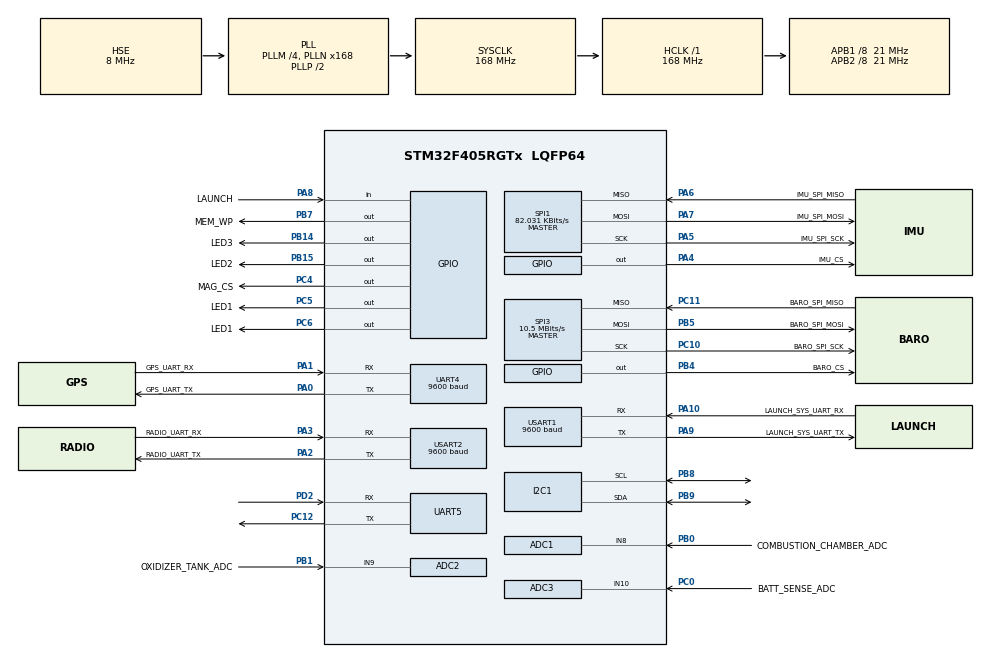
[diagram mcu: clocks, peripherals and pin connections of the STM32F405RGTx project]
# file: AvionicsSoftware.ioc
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ADC1.Channel-58\#ChannelRegularConversion=ADC_CHANNEL_8
ADC1.ClockPrescaler=ADC_CLOCK_SYNC_PCLK_DIV2
ADC1.ContinuousConvMode=ENABLE
ADC1.DMAContinuousRequests=DISABLE
ADC1.DataAlign=ADC_DATAALIGN_RIGHT
ADC1.DiscontinuousConvMode=DISABLE
ADC1.EOCSelection=ADC_EOC_SEQ_CONV
ADC1.EnableAnalogWatchDog=false
ADC1.ExternalTrigConv=ADC_SOFTWARE_START
ADC1.ExternalTrigConvEdge=ADC_EXTERNALTRIGCONVEDGE_NONE
ADC1.InjNumberOfConversion=0
ADC1.NbrOfConversion=1
ADC1.NbrOfConversionFlag=1
ADC1.Rank-58\#ChannelRegularConversion=1
ADC1.Resolution=ADC_RESOLUTION_12B
ADC1.SamplingTime-58\#ChannelRegularConversion=ADC_SAMPLETIME_480CYCLES
ADC1.ScanConvMode=DISABLE
ADC1.master=1
ADC2.Channel-68\#ChannelRegularConversion=ADC_CHANNEL_9
ADC2.ClockPrescaler=ADC_CLOCK_SYNC_PCLK_DIV2
ADC2.ContinuousConvMode=ENABLE
ADC2.DMAContinuousRequests=DISABLE
ADC2.DataAlign=ADC_DATAALIGN_RIGHT
ADC2.DiscontinuousConvMode=DISABLE
ADC2.EOCSelection=ADC_EOC_SEQ_CONV
ADC2.EnableAnalogWatchDog=false
ADC2.ExternalTrigConv=ADC_SOFTWARE_START
ADC2.ExternalTrigConvEdge=ADC_EXTERNALTRIGCONVEDGE_NONE
ADC2.InjNumberOfConversion=0
ADC2.NbrOfConversion=1
ADC2.NbrOfConversionFlag=1
ADC2.Rank-68\#ChannelRegularConversion=1
ADC2.Resolution=ADC_RESOLUTION_12B
ADC2.SamplingTime-68\#ChannelRegularConversion=ADC_SAMPLETIME_480CYCLES
ADC2.ScanConvMode=DISABLE
ADC3.Channel-0\#ChannelRegularConversion=ADC_CHANNEL_10
ADC3.ContinuousConvMode=ENABLE
ADC3.EOCSelection=ADC_EOC_SEQ_CONV
ADC3.NbrOfConversionFlag=1
ADC3.Rank-0\#ChannelRegularConversion=1
ADC3.SamplingTime-0\#ChannelRegularConversion=ADC_SAMPLETIME_480CYCLES
FREERTOS.INCLUDE_vTaskDelayUntil=1
FREERTOS.Tasks01=defaultTask,0,128,StartDefaultTask,Default,NULL
FREERTOS.configMAX_TASK_NAME_LEN=64
Mcu.Family=STM32F4
Mcu.Name=STM32F405RGTx
Mcu.Package=LQFP64
NVIC.PriorityGroup=NVIC_PRIORITYGROUP_4
NVIC.TIM1_UP_TIM10_IRQn=true\:0\:0\:false\:false\:true\:false\:false\:true
NVIC.TimeBase=TIM1_UP_TIM10_IRQn
NVIC.TimeBaseIP=TIM1
NVIC.USART2_IRQn=true\:5\:0\:false\:false\:true\:true\:true\:true
PA0-WKUP.GPIO_Label=GPS_UART_TX
PA0-WKUP.Mode=Asynchronous
PA0-WKUP.Signal=UART4_TX
PA1.GPIO_Label=GPS_UART_RX
PA1.Mode=Asynchronous
PA1.Signal=UART4_RX
PA10.GPIO_Label=LAUNCH_SYS_UART_RX
PA10.Mode=Asynchronous
PA10.Signal=USART1_RX
PA13.Signal=SYS_JTMS-SWDIO
PA14.Signal=SYS_JTCK-SWCLK
PA2.GPIO_Label=RADIO_UART_TX
PA2.Mode=Asynchronous
PA2.Signal=USART2_TX
PA3.GPIO_Label=RADIO_UART_RX
PA3.Mode=Asynchronous
PA3.Signal=USART2_RX
PA4.GPIO_Label=IMU_CS
PA4.Signal=GPIO_Output
PA5.GPIO_Label=IMU_SPI_SCK
PA5.Mode=Full_Duplex_Master
PA5.Signal=SPI1_SCK
PA6.GPIO_Label=IMU_SPI_MISO
PA6.Mode=Full_Duplex_Master
PA6.Signal=SPI1_MISO
PA7.GPIO_Label=IMU_SPI_MOSI
PA7.Mode=Full_Duplex_Master
PA7.Signal=SPI1_MOSI
PA8.GPIO_Label=LAUNCH
PA8.Signal=GPIO_Input
PA9.GPIO_Label=LAUNCH_SYS_UART_TX
PA9.Mode=Asynchronous
PA9.Signal=USART1_TX
PB0.GPIO_Label=COMBUSTION_CHAMBER_ADC
PB0.Signal=ADCx_IN8
PB1.GPIO_Label=OXIDIZER_TANK_ADC
PB1.Signal=ADCx_IN9
PB14.GPIO_Label=LED3
PB14.Signal=GPIO_Output
PB15.GPIO_Label=LED2
PB15.Signal=GPIO_Output
PB3.Signal=SYS_JTDO-SWO
PB4.GPIO_Label=BARO_CS
PB4.Signal=GPIO_Output
PB5.GPIO_Label=BARO_SPI_MOSI
PB5.Mode=Full_Duplex_Master
PB5.Signal=SPI3_MOSI
PB7.GPIO_Label=MEM_WP
PB7.Signal=GPIO_Output
PB8.Mode=I2C
PB8.Signal=I2C1_SCL
PB9.Mode=I2C
PB9.Signal=I2C1_SDA
PC0.GPIO_Label=BATT_SENSE_ADC
PC0.Signal=ADCx_IN10
PC10.GPIO_Label=BARO_SPI_SCK
PC10.Mode=Full_Duplex_Master
PC10.Signal=SPI3_SCK
PC11.GPIO_Label=BARO_SPI_MISO
PC11.Mode=Full_Duplex_Master
PC11.Signal=SPI3_MISO
PC12.Mode=Asynchronous
PC12.Signal=UART5_TX
PC4.GPIO_Label=MAG_CS
PC4.Signal=GPIO_Output
PC5.GPIO_Label=LED1
PC5.Signal=GPIO_Output
PC6.GPIO_Label=LED1
PC6.Signal=GPIO_Output
PD2.Mode=Asynchronous
PD2.Signal=UART5_RX
PH0-OSC_IN.Mode=HSE-External-Oscillator
PH0-OSC_IN.Signal=RCC_OSC_IN
PH1-OSC_OUT.Mode=HSE-External-Oscillator
PH1-OSC_OUT.Signal=RCC_OSC_OUT
ProjectManager.HeapSize=0x200
ProjectManager.StackSize=0x400
ProjectManager.TargetToolchain=SW4STM32
RCC.48MHZClocksFreq_Value=84000000
RCC.AHBFreq_Value=168000000
RCC.APB1CLKDivider=RCC_HCLK_DIV8
RCC.APB1Freq_Value=21000000
RCC.APB1TimFreq_Value=42000000
RCC.APB2CLKDivider=RCC_HCLK_DIV8
RCC.APB2Freq_Value=21000000
RCC.APB2TimFreq_Value=42000000
RCC.CortexFreq_Value=168000000
RCC.HCLKFreq_Value=168000000
RCC.HSE_VALUE=8000000
RCC.HSI_VALUE=16000000
RCC.LSE_VALUE=32768
RCC.PLLM=4
RCC.PLLN=168
RCC.PLLSourceVirtual=RCC_PLLSOURCE_HSE
RCC.SYSCLKFreq_VALUE=168000000
RCC.SYSCLKSource=RCC_SYSCLKSOURCE_PLLCLK
RCC.VCOOutputFreq_Value=336000000
SH.ADCx_IN10.0=ADC3_IN10,IN10
SH.ADCx_IN8.0=ADC1_IN8,IN8
SH.ADCx_IN9.0=ADC2_IN9,IN9
SPI1.BaudRatePrescaler=SPI_BAUDRATEPRESCALER_256
SPI1.CLKPhase=SPI_PHASE_2EDGE
SPI1.CLKPolarity=SPI_POLARITY_HIGH
SPI1.CalculateBaudRate=82.031 KBits/s
SPI1.Direction=SPI_DIRECTION_2LINES
SPI1.Mode=SPI_MODE_MASTER
SPI1.VirtualType=VM_MASTER
SPI3.CalculateBaudRate=10.5 MBits/s
SPI3.Direction=SPI_DIRECTION_2LINES
SPI3.Mode=SPI_MODE_MASTER
SPI3.VirtualType=VM_MASTER
UART4.BaudRate=9600
UART4.VirtualMode=Asynchronous
UART5.VirtualMode=Asynchronous
USART1.BaudRate=9600
USART1.VirtualMode=VM_ASYNC
USART2.BaudRate=9600
USART2.VirtualMode=VM_ASYNC
VP_FREERTOS_VS_CMSIS_V1.Mode=CMSIS_V1
VP_SYS_VS_tim1.Mode=TIM1
board=VanderAvionics

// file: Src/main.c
/* USER CODE BEGIN Header */
/**
  ******************************************************************************
  * @file           : main.c
  * @brief          : Main program body
  ******************************************************************************
  * @attention
  *
  * <h2><center>&copy; Copyright (c) 2020 STMicroelectronics.
  * All rights reserved.</center></h2>
  *
  * This software component is licensed by ST under Ultimate Liberty license
  * SLA0044, the "License"; You may not use this file except in compliance with
  * the License. You may obtain a copy of the License at:
  *                             www.st.com/SLA0044
  *
  ******************************************************************************
  */
/* USER CODE END Header */

#include "main.h"
#include "cmsis_os.h"

/* USER CODE BEGIN Includes */
#include <stdlib.h>
#include "ReadAccelGyroMagnetism.h"
#include "ReadBarometer.h"
#include "ReadCombustionChamberPressure.h"
#include "ReadGps.h"
#include "ReadOxidizerTankPressure.h"
#include "MonitorForEmergencyShutoff.h"
#include "EngineControl.h"
#include "ParachutesControl.h"
#include "LogData.h"
#include "TransmitData.h"
#include "AbortPhase.h"
#include "Data.h"
#include "FlightPhase.h"
#include "ValveControl.h"
/* USER CODE END Includes */

ADC_HandleTypeDef hadc1;
ADC_HandleTypeDef hadc2;
ADC_HandleTypeDef hadc3;

I2C_HandleTypeDef hi2c1;

SPI_HandleTypeDef hspi1;
SPI_HandleTypeDef hspi3;

UART_HandleTypeDef huart4;
UART_HandleTypeDef huart5;
UART_HandleTypeDef huart1;
UART_HandleTypeDef huart2;

osThreadId defaultTaskHandle;
/* USER CODE BEGIN PV */
/* Private variables ---------------------------------------------------------*/
static osThreadId readAccelGyroMagnetismTaskHandle;
static osThreadId readBarometerTaskHandle;
static osThreadId readCombustionChamberPressureTaskHandle;
static osThreadId readGpsTaskHandle;
static osThreadId readOxidizerTankPressureTaskHandle;
// Controls that will perform actions
static osThreadId monitorForEmergencyShutoffTaskHandle;
static osThreadId engineControlTaskHandle;
static osThreadId parachutesControlTaskHandle;
// Storing data
static osThreadId logDataTaskHandle;
static osThreadId transmitDataTaskHandle;
// Special abort thread
static osThreadId abortPhaseTaskHandle;

static const uint8_t LAUNCH_CMD_BYTE = 0x20;
static const uint8_t ARM_CMD_BYTE = 0x21;
static const uint8_t ABORT_CMD_BYTE = 0x2F;
static const uint8_t RESET_AVIONICS_CMD_BYTE = 0x4F;
static const uint8_t HEARTBEAT_BYTE = 0x46;
static const uint8_t OPEN_INJECTION_VALVE = 0x2A;
static const uint8_t CLOSE_INJECTION_VALVE = 0x2B;

uint8_t launchSystemsRxChar = 0;
uint8_t launchCmdReceived = 0;
uint8_t abortCmdReceived = 0;
uint8_t resetAvionicsCmdReceived = 0;

const int32_t HEARTBEAT_TIMEOUT = 3 * 60 * 1000; // 3 minutes
int32_t heartbeatTimer = 0; // Initalized to HEARTBEAT_TIMEOUT in MonitorForEmergencyShutoff thread

static const int FLIGHT_PHASE_DISPLAY_FREQ = 1000;
static const int FLIGHT_PHASE_BLINK_FREQ = 100;
/* USER CODE END PV */

void SystemClock_Config(void);
static void MX_GPIO_Init(void);
static void MX_ADC1_Init(void);
static void MX_ADC2_Init(void);
static void MX_SPI1_Init(void);
static void MX_USART1_UART_Init(void);
static void MX_USART2_UART_Init(void);
static void MX_UART4_Init(void);
static void MX_ADC3_Init(void);
static void MX_I2C1_Init(void);
static void MX_SPI3_Init(void);
static void MX_UART5_Init(void);
void StartDefaultTask(void const * argument);

/* USER CODE BEGIN PFP */
/* Private function prototypes -----------------------------------------------*/

/* USER CODE END PFP */

int main(void)
{

  /* MCU Configuration--------------------------------------------------------*/

  /* Reset of all peripherals, Initializes the Flash interface and the Systick. */
  HAL_Init();

  /* Configure the system clock */
  SystemClock_Config();

  /* Initialize all configured peripherals */
  MX_GPIO_Init();
  MX_ADC1_Init();
  MX_ADC2_Init();
  MX_SPI1_Init();
  MX_USART1_UART_Init();
  MX_USART2_UART_Init();
  MX_UART4_Init();
  MX_ADC3_Init();
  MX_I2C1_Init();
  MX_SPI3_Init();
  MX_UART5_Init();
  /* USER CODE BEGIN 2 */
    // Data primitive structs
    AccelGyroMagnetismData* accelGyroMagnetismData =
        malloc(sizeof(AccelGyroMagnetismData));
    BarometerData* barometerData =
        malloc(sizeof(BarometerData));
    CombustionChamberPressureData* combustionChamberPressureData =
        malloc(sizeof(CombustionChamberPressureData));
    GpsData* gpsData =
        malloc(sizeof(GpsData));
    OxidizerTankPressureData* oxidizerTankPressureData =
        malloc(sizeof(OxidizerTankPressureData));

    osMutexDef(ACCEL_GYRO_MAGNETISM_DATA_MUTEX);
    accelGyroMagnetismData->mutex_ = osMutexCreate(osMutex(ACCEL_GYRO_MAGNETISM_DATA_MUTEX));
    accelGyroMagnetismData->accelX_ = -1;
    accelGyroMagnetismData->accelY_ = -2;
    accelGyroMagnetismData->accelZ_ = -3;
    accelGyroMagnetismData->gyroX_ = -4;
    accelGyroMagnetismData->gyroY_ = -5;
    accelGyroMagnetismData->gyroZ_ = -6;
    accelGyroMagnetismData->magnetoX_ = -7;
    accelGyroMagnetismData->magnetoY_ = -8;
    accelGyroMagnetismData->magnetoZ_ = -9;

    osMutexDef(BAROMETER_DATA_MUTEX);
    barometerData->mutex_ = osMutexCreate(osMutex(BAROMETER_DATA_MUTEX));
    barometerData->pressure_ = -10;
    barometerData->temperature_ = -11;

    osMutexDef(COMBUSTION_CHAMBER_PRESSURE_DATA_MUTEX);
    combustionChamberPressureData->mutex_ = osMutexCreate(osMutex(COMBUSTION_CHAMBER_PRESSURE_DATA_MUTEX));
    combustionChamberPressureData->pressure_ = -12;

    osMutexDef(GPS_DATA_MUTEX);
    gpsData->mutex_ = osMutexCreate(osMutex(GPS_DATA_MUTEX));
    gpsData->altitude_ = -13;
    gpsData->epochTimeMsec_ = -14;
    gpsData->latitude_ = -15;
    gpsData->longitude_ = -16;

    osMutexDef(OXIDIZER_TANK_PRESSURE_DATA_MUTEX);
    oxidizerTankPressureData->mutex_ = osMutexCreate(osMutex(OXIDIZER_TANK_PRESSURE_DATA_MUTEX));
    oxidizerTankPressureData->pressure_ = -17;

    // Data containers
    AllData* allData =
        malloc(sizeof(AllData));
    allData->accelGyroMagnetismData_ = accelGyroMagnetismData;
    allData->barometerData_ = barometerData;
    allData->combustionChamberPressureData_ = combustionChamberPressureData;
    allData->gpsData_ = gpsData;
    allData->oxidizerTankPressureData_ = oxidizerTankPressureData;

    ParachutesControlData* parachutesControlData =
        malloc(sizeof(ParachutesControlData));
    parachutesControlData->accelGyroMagnetismData_ = accelGyroMagnetismData;
    parachutesControlData->barometerData_ = barometerData;
  /* USER CODE END 2 */

  /* USER CODE BEGIN RTOS_MUTEX */
    osMutexDef(FLIGHT_PHASE_MUTEX);
    flightPhaseMutex = osMutexCreate(osMutex(FLIGHT_PHASE_MUTEX));
  /* USER CODE END RTOS_MUTEX */

  /* USER CODE BEGIN RTOS_TIMERS */
    /* start timers, add new ones, ... */
    HAL_UART_Receive_IT(&huart2, &launchSystemsRxChar, 1);

  /* USER CODE END RTOS_TIMERS */

  /* Create the thread(s) */
  /* definition and creation of defaultTask */
  osThreadDef(defaultTask, StartDefaultTask, osPriorityNormal, 0, 128);
  defaultTaskHandle = osThreadCreate(osThread(defaultTask), NULL);

  /* USER CODE BEGIN RTOS_THREADS */

    osThreadDef(
        readAccelGyroMagnetismThread,
        readAccelGyroMagnetismTask,
        osPriorityNormal,
        1,
        configMINIMAL_STACK_SIZE
    );
    readAccelGyroMagnetismTaskHandle =
        osThreadCreate(osThread(readAccelGyroMagnetismThread), accelGyroMagnetismData);

    osThreadDef(
        readBarometerThread,
        readBarometerTask,
        osPriorityNormal,
        1,
        configMINIMAL_STACK_SIZE
    );
    readBarometerTaskHandle =
        osThreadCreate(osThread(readBarometerThread), barometerData);

    osThreadDef(
        readCombustionChamberPressureThread,
        readCombustionChamberPressureTask,
        osPriorityAboveNormal,
        1,
        configMINIMAL_STACK_SIZE
    );
    readCombustionChamberPressureTaskHandle =
        osThreadCreate(osThread(readCombustionChamberPressureThread), combustionChamberPressureData);

    osThreadDef(
        readGpsThread,
        readGpsTask,
        osPriorityBelowNormal,
        1,
        configMINIMAL_STACK_SIZE
    );
    readGpsTaskHandle =
        osThreadCreate(osThread(readGpsThread), gpsData);

    osThreadDef(
        readOxidizerTankPressureThread,
        readOxidizerTankPressureTask,
        osPriorityAboveNormal,
        1,
        configMINIMAL_STACK_SIZE
    );
    readOxidizerTankPressureTaskHandle =
        osThreadCreate(osThread(readOxidizerTankPressureThread), oxidizerTankPressureData);

    osThreadDef(
        monitorForEmergencyShutoffThread,
        monitorForEmergencyShutoffTask,
        osPriorityHigh,
        1,
        configMINIMAL_STACK_SIZE
    );
    monitorForEmergencyShutoffTaskHandle =
        osThreadCreate(osThread(monitorForEmergencyShutoffThread), accelGyroMagnetismData);

    osThreadDef(
        engineControlThread,
        engineControlTask,
        osPriorityNormal,
        1,
        configMINIMAL_STACK_SIZE * 2
    );
    engineControlTaskHandle =
        osThreadCreate(osThread(engineControlThread), oxidizerTankPressureData);

    osThreadDef(
        parachutesControlThread,
        parachutesControlTask,
        osPriorityAboveNormal,
        1,
        configMINIMAL_STACK_SIZE * 2
    );
    parachutesControlTaskHandle =
        osThreadCreate(osThread(parachutesControlThread), parachutesControlData);

    osThreadDef(
        logDataThread,
        logDataTask,
        osPriorityNormal,
        1,
        configMINIMAL_STACK_SIZE * 3
    );
    logDataTaskHandle =
        osThreadCreate(osThread(logDataThread), allData);

    osThreadDef(
        transmitDataThread,
        transmitDataTask,
        osPriorityNormal,
        1,
        configMINIMAL_STACK_SIZE * 3
    );
    transmitDataTaskHandle =
        osThreadCreate(osThread(transmitDataThread), allData);

    osThreadDef(
        abortPhaseThread,
        abortPhaseTask,
        osPriorityHigh,
        1,
        configMINIMAL_STACK_SIZE
    );
    abortPhaseTaskHandle =
        osThreadCreate(osThread(abortPhaseThread), NULL);
  /* USER CODE END RTOS_THREADS */

  /* Start scheduler */
  osKernelStart();

  /* We should never get here as control is now taken by the scheduler */

  /* Infinite loop */
    while (1)
    {

    /* USER CODE BEGIN 3 */
    }

    free(accelGyroMagnetismData);
    free(barometerData);
    free(combustionChamberPressureData);
    free(gpsData);
    free(oxidizerTankPressureData);
    free(allData);
    free(parachutesControlData);
  /* USER CODE END 3 */
}

void SystemClock_Config(void)
{
  RCC_OscInitTypeDef RCC_OscInitStruct = {0};
  RCC_ClkInitTypeDef RCC_ClkInitStruct = {0};

  /** Configure the main internal regulator output voltage
  */
  __HAL_RCC_PWR_CLK_ENABLE();
  __HAL_PWR_VOLTAGESCALING_CONFIG(PWR_REGULATOR_VOLTAGE_SCALE1);
  /** Initializes the CPU, AHB and APB busses clocks
  */
  RCC_OscInitStruct.OscillatorType = RCC_OSCILLATORTYPE_HSE;
  RCC_OscInitStruct.HSEState = RCC_HSE_ON;
  RCC_OscInitStruct.PLL.PLLState = RCC_PLL_ON;
  RCC_OscInitStruct.PLL.PLLSource = RCC_PLLSOURCE_HSE;
  RCC_OscInitStruct.PLL.PLLM = 4;
  RCC_OscInitStruct.PLL.PLLN = 168;
  RCC_OscInitStruct.PLL.PLLP = RCC_PLLP_DIV2;
  RCC_OscInitStruct.PLL.PLLQ = 4;
  if (HAL_RCC_OscConfig(&RCC_OscInitStruct) != HAL_OK)
  {
    Error_Handler();
  }
  /** Initializes the CPU, AHB and APB busses clocks
  */
  RCC_ClkInitStruct.ClockType = RCC_CLOCKTYPE_HCLK|RCC_CLOCKTYPE_SYSCLK
                              |RCC_CLOCKTYPE_PCLK1|RCC_CLOCKTYPE_PCLK2;
  RCC_ClkInitStruct.SYSCLKSource = RCC_SYSCLKSOURCE_PLLCLK;
  RCC_ClkInitStruct.AHBCLKDivider = RCC_SYSCLK_DIV1;
  RCC_ClkInitStruct.APB1CLKDivider = RCC_HCLK_DIV8;
  RCC_ClkInitStruct.APB2CLKDivider = RCC_HCLK_DIV8;

  if (HAL_RCC_ClockConfig(&RCC_ClkInitStruct, FLASH_LATENCY_5) != HAL_OK)
  {
    Error_Handler();
  }
}

static void MX_ADC1_Init(void)
{

  ADC_ChannelConfTypeDef sConfig = {0};

  /** Configure the global features of the ADC (Clock, Resolution, Data Alignment and number of conversion)
  */
  hadc1.Instance = ADC1;
  hadc1.Init.ClockPrescaler = ADC_CLOCK_SYNC_PCLK_DIV2;
  hadc1.Init.Resolution = ADC_RESOLUTION_12B;
  hadc1.Init.ScanConvMode = DISABLE;
  hadc1.Init.ContinuousConvMode = ENABLE;
  hadc1.Init.DiscontinuousConvMode = DISABLE;
  hadc1.Init.ExternalTrigConvEdge = ADC_EXTERNALTRIGCONVEDGE_NONE;
  hadc1.Init.ExternalTrigConv = ADC_SOFTWARE_START;
  hadc1.Init.DataAlign = ADC_DATAALIGN_RIGHT;
  hadc1.Init.NbrOfConversion = 1;
  hadc1.Init.DMAContinuousRequests = DISABLE;
  hadc1.Init.EOCSelection = ADC_EOC_SEQ_CONV;
  if (HAL_ADC_Init(&hadc1) != HAL_OK)
  {
    Error_Handler();
  }
  /** Configure for the selected ADC regular channel its corresponding rank in the sequencer and its sample time.
  */
  sConfig.Channel = ADC_CHANNEL_8;
  sConfig.Rank = 1;
  sConfig.SamplingTime = ADC_SAMPLETIME_480CYCLES;
  if (HAL_ADC_ConfigChannel(&hadc1, &sConfig) != HAL_OK)
  {
    Error_Handler();
  }

}

static void MX_ADC2_Init(void)
{

  ADC_ChannelConfTypeDef sConfig = {0};

  /** Configure the global features of the ADC (Clock, Resolution, Data Alignment and number of conversion)
  */
  hadc2.Instance = ADC2;
  hadc2.Init.ClockPrescaler = ADC_CLOCK_SYNC_PCLK_DIV2;
  hadc2.Init.Resolution = ADC_RESOLUTION_12B;
  hadc2.Init.ScanConvMode = DISABLE;
  hadc2.Init.ContinuousConvMode = ENABLE;
  hadc2.Init.DiscontinuousConvMode = DISABLE;
  hadc2.Init.ExternalTrigConvEdge = ADC_EXTERNALTRIGCONVEDGE_NONE;
  hadc2.Init.ExternalTrigConv = ADC_SOFTWARE_START;
  hadc2.Init.DataAlign = ADC_DATAALIGN_RIGHT;
  hadc2.Init.NbrOfConversion = 1;
  hadc2.Init.DMAContinuousRequests = DISABLE;
  hadc2.Init.EOCSelection = ADC_EOC_SEQ_CONV;
  if (HAL_ADC_Init(&hadc2) != HAL_OK)
  {
    Error_Handler();
  }
  /** Configure for the selected ADC regular channel its corresponding rank in the sequencer and its sample time.
  */
  sConfig.Channel = ADC_CHANNEL_9;
  sConfig.Rank = 1;
  sConfig.SamplingTime = ADC_SAMPLETIME_480CYCLES;
  if (HAL_ADC_ConfigChannel(&hadc2, &sConfig) != HAL_OK)
  {
    Error_Handler();
  }

}

static void MX_ADC3_Init(void)
{

  ADC_ChannelConfTypeDef sConfig = {0};

  /** Configure the global features of the ADC (Clock, Resolution, Data Alignment and number of conversion)
  */
  hadc3.Instance = ADC3;
  hadc3.Init.ClockPrescaler = ADC_CLOCK_SYNC_PCLK_DIV2;
  hadc3.Init.Resolution = ADC_RESOLUTION_12B;
  hadc3.Init.ScanConvMode = DISABLE;
  hadc3.Init.ContinuousConvMode = ENABLE;
  hadc3.Init.DiscontinuousConvMode = DISABLE;
  hadc3.Init.ExternalTrigConvEdge = ADC_EXTERNALTRIGCONVEDGE_NONE;
  hadc3.Init.ExternalTrigConv = ADC_SOFTWARE_START;
  hadc3.Init.DataAlign = ADC_DATAALIGN_RIGHT;
  hadc3.Init.NbrOfConversion = 1;
  hadc3.Init.DMAContinuousRequests = DISABLE;
  hadc3.Init.EOCSelection = ADC_EOC_SEQ_CONV;
  if (HAL_ADC_Init(&hadc3) != HAL_OK)
  {
    Error_Handler();
  }
  /** Configure for the selected ADC regular channel its corresponding rank in the sequencer and its sample time.
  */
  sConfig.Channel = ADC_CHANNEL_10;
  sConfig.Rank = 1;
  sConfig.SamplingTime = ADC_SAMPLETIME_480CYCLES;
  if (HAL_ADC_ConfigChannel(&hadc3, &sConfig) != HAL_OK)
  {
    Error_Handler();
  }

}

static void MX_I2C1_Init(void)
{

  hi2c1.Instance = I2C1;
  hi2c1.Init.ClockSpeed = 100000;
  hi2c1.Init.DutyCycle = I2C_DUTYCYCLE_2;
  hi2c1.Init.OwnAddress1 = 0;
  hi2c1.Init.AddressingMode = I2C_ADDRESSINGMODE_7BIT;
  hi2c1.Init.DualAddressMode = I2C_DUALADDRESS_DISABLE;
  hi2c1.Init.OwnAddress2 = 0;
  hi2c1.Init.GeneralCallMode = I2C_GENERALCALL_DISABLE;
  hi2c1.Init.NoStretchMode = I2C_NOSTRETCH_DISABLE;
  if (HAL_I2C_Init(&hi2c1) != HAL_OK)
  {
    Error_Handler();
  }

}

static void MX_SPI1_Init(void)
{

  /* SPI1 parameter configuration*/
  hspi1.Instance = SPI1;
  hspi1.Init.Mode = SPI_MODE_MASTER;
  hspi1.Init.Direction = SPI_DIRECTION_2LINES;
  hspi1.Init.DataSize = SPI_DATASIZE_8BIT;
  hspi1.Init.CLKPolarity = SPI_POLARITY_HIGH;
  hspi1.Init.CLKPhase = SPI_PHASE_2EDGE;
  hspi1.Init.NSS = SPI_NSS_SOFT;
  hspi1.Init.BaudRatePrescaler = SPI_BAUDRATEPRESCALER_256;
  hspi1.Init.FirstBit = SPI_FIRSTBIT_MSB;
  hspi1.Init.TIMode = SPI_TIMODE_DISABLE;
  hspi1.Init.CRCCalculation = SPI_CRCCALCULATION_DISABLE;
  hspi1.Init.CRCPolynomial = 10;
  if (HAL_SPI_Init(&hspi1) != HAL_OK)
  {
    Error_Handler();
  }

}

static void MX_SPI3_Init(void)
{

  /* SPI3 parameter configuration*/
  hspi3.Instance = SPI3;
  hspi3.Init.Mode = SPI_MODE_MASTER;
  hspi3.Init.Direction = SPI_DIRECTION_2LINES;
  hspi3.Init.DataSize = SPI_DATASIZE_8BIT;
  hspi3.Init.CLKPolarity = SPI_POLARITY_LOW;
  hspi3.Init.CLKPhase = SPI_PHASE_1EDGE;
  hspi3.Init.NSS = SPI_NSS_SOFT;
  hspi3.Init.BaudRatePrescaler = SPI_BAUDRATEPRESCALER_2;
  hspi3.Init.FirstBit = SPI_FIRSTBIT_MSB;
  hspi3.Init.TIMode = SPI_TIMODE_DISABLE;
  hspi3.Init.CRCCalculation = SPI_CRCCALCULATION_DISABLE;
  hspi3.Init.CRCPolynomial = 10;
  if (HAL_SPI_Init(&hspi3) != HAL_OK)
  {
    Error_Handler();
  }

}

static void MX_UART4_Init(void)
{

  huart4.Instance = UART4;
  huart4.Init.BaudRate = 9600;
  huart4.Init.WordLength = UART_WORDLENGTH_8B;
  huart4.Init.StopBits = UART_STOPBITS_1;
  huart4.Init.Parity = UART_PARITY_NONE;
  huart4.Init.Mode = UART_MODE_TX_RX;
  huart4.Init.HwFlowCtl = UART_HWCONTROL_NONE;
  huart4.Init.OverSampling = UART_OVERSAMPLING_16;
  if (HAL_UART_Init(&huart4) != HAL_OK)
  {
    Error_Handler();
  }

}

static void MX_UART5_Init(void)
{

  huart5.Instance = UART5;
  huart5.Init.BaudRate = 115200;
  huart5.Init.WordLength = UART_WORDLENGTH_8B;
  huart5.Init.StopBits = UART_STOPBITS_1;
  huart5.Init.Parity = UART_PARITY_NONE;
  huart5.Init.Mode = UART_MODE_TX_RX;
  huart5.Init.HwFlowCtl = UART_HWCONTROL_NONE;
  huart5.Init.OverSampling = UART_OVERSAMPLING_16;
  if (HAL_UART_Init(&huart5) != HAL_OK)
  {
    Error_Handler();
  }

}

static void MX_USART1_UART_Init(void)
{

  huart1.Instance = USART1;
  huart1.Init.BaudRate = 9600;
  huart1.Init.WordLength = UART_WORDLENGTH_8B;
  huart1.Init.StopBits = UART_STOPBITS_1;
  huart1.Init.Parity = UART_PARITY_NONE;
  huart1.Init.Mode = UART_MODE_TX_RX;
  huart1.Init.HwFlowCtl = UART_HWCONTROL_NONE;
  huart1.Init.OverSampling = UART_OVERSAMPLING_16;
  if (HAL_UART_Init(&huart1) != HAL_OK)
  {
    Error_Handler();
  }

}

static void MX_USART2_UART_Init(void)
{

  huart2.Instance = USART2;
  huart2.Init.BaudRate = 9600;
  huart2.Init.WordLength = UART_WORDLENGTH_8B;
  huart2.Init.StopBits = UART_STOPBITS_1;
  huart2.Init.Parity = UART_PARITY_NONE;
  huart2.Init.Mode = UART_MODE_TX_RX;
  huart2.Init.HwFlowCtl = UART_HWCONTROL_NONE;
  huart2.Init.OverSampling = UART_OVERSAMPLING_16;
  if (HAL_UART_Init(&huart2) != HAL_OK)
  {
    Error_Handler();
  }

}

static void MX_GPIO_Init(void)
{
  GPIO_InitTypeDef GPIO_InitStruct = {0};

  /* GPIO Ports Clock Enable */
  __HAL_RCC_GPIOC_CLK_ENABLE();
  __HAL_RCC_GPIOH_CLK_ENABLE();
  __HAL_RCC_GPIOA_CLK_ENABLE();
  __HAL_RCC_GPIOB_CLK_ENABLE();
  __HAL_RCC_GPIOD_CLK_ENABLE();

  /*Configure GPIO pin Output Level */
  HAL_GPIO_WritePin(IMU_CS_GPIO_Port, IMU_CS_Pin, GPIO_PIN_RESET);

  /*Configure GPIO pin Output Level */
  HAL_GPIO_WritePin(GPIOC, MAG_CS_Pin|LED1_Pin|LED1C6_Pin, GPIO_PIN_RESET);

  /*Configure GPIO pin Output Level */
  HAL_GPIO_WritePin(GPIOB, LED3_Pin|LED2_Pin|BARO_CS_Pin|MEM_WP_Pin, GPIO_PIN_RESET);

  /*Configure GPIO pins : PC13 PC14 PC15 PC1
                           PC2 PC3 PC7 PC8
                           PC9 */
  GPIO_InitStruct.Pin = GPIO_PIN_13|GPIO_PIN_14|GPIO_PIN_15|GPIO_PIN_1
                          |GPIO_PIN_2|GPIO_PIN_3|GPIO_PIN_7|GPIO_PIN_8
                          |GPIO_PIN_9;
  GPIO_InitStruct.Mode = GPIO_MODE_ANALOG;
  GPIO_InitStruct.Pull = GPIO_NOPULL;
  HAL_GPIO_Init(GPIOC, &GPIO_InitStruct);

  /*Configure GPIO pin : IMU_CS_Pin */
  GPIO_InitStruct.Pin = IMU_CS_Pin;
  GPIO_InitStruct.Mode = GPIO_MODE_OUTPUT_PP;
  GPIO_InitStruct.Pull = GPIO_NOPULL;
  GPIO_InitStruct.Speed = GPIO_SPEED_FREQ_LOW;
  HAL_GPIO_Init(IMU_CS_GPIO_Port, &GPIO_InitStruct);

  /*Configure GPIO pins : MAG_CS_Pin LED1_Pin LED1C6_Pin */
  GPIO_InitStruct.Pin = MAG_CS_Pin|LED1_Pin|LED1C6_Pin;
  GPIO_InitStruct.Mode = GPIO_MODE_OUTPUT_PP;
  GPIO_InitStruct.Pull = GPIO_NOPULL;
  GPIO_InitStruct.Speed = GPIO_SPEED_FREQ_LOW;
  HAL_GPIO_Init(GPIOC, &GPIO_InitStruct);

  /*Configure GPIO pins : PB2 PB10 PB11 PB12
                           PB13 PB6 */
  GPIO_InitStruct.Pin = GPIO_PIN_2|GPIO_PIN_10|GPIO_PIN_11|GPIO_PIN_12
                          |GPIO_PIN_13|GPIO_PIN_6;
  GPIO_InitStruct.Mode = GPIO_MODE_ANALOG;
  GPIO_InitStruct.Pull = GPIO_NOPULL;
  HAL_GPIO_Init(GPIOB, &GPIO_InitStruct);

  /*Configure GPIO pins : LED3_Pin LED2_Pin BARO_CS_Pin MEM_WP_Pin */
  GPIO_InitStruct.Pin = LED3_Pin|LED2_Pin|BARO_CS_Pin|MEM_WP_Pin;
  GPIO_InitStruct.Mode = GPIO_MODE_OUTPUT_PP;
  GPIO_InitStruct.Pull = GPIO_NOPULL;
  GPIO_InitStruct.Speed = GPIO_SPEED_FREQ_LOW;
  HAL_GPIO_Init(GPIOB, &GPIO_InitStruct);

  /*Configure GPIO pin : LAUNCH_Pin */
  GPIO_InitStruct.Pin = LAUNCH_Pin;
  GPIO_InitStruct.Mode = GPIO_MODE_INPUT;
  GPIO_InitStruct.Pull = GPIO_NOPULL;
  HAL_GPIO_Init(LAUNCH_GPIO_Port, &GPIO_InitStruct);

  /*Configure GPIO pins : PA11 PA12 PA15 */
  GPIO_InitStruct.Pin = GPIO_PIN_11|GPIO_PIN_12|GPIO_PIN_15;
  GPIO_InitStruct.Mode = GPIO_MODE_ANALOG;
  GPIO_InitStruct.Pull = GPIO_NOPULL;
  HAL_GPIO_Init(GPIOA, &GPIO_InitStruct);

}

/* USER CODE BEGIN 4 */
void HAL_UART_ErrorCallback(UART_HandleTypeDef* huart)
{

}

void HAL_UART_RxCpltCallback(UART_HandleTypeDef* huart)
{
    if (huart->Instance == USART2)
    {
        if (launchSystemsRxChar == LAUNCH_CMD_BYTE)
        {
            if (ARM == getCurrentFlightPhase())
            {
                launchCmdReceived++;
            }
        }
        else if (launchSystemsRxChar == ARM_CMD_BYTE)
        {
            if (PRELAUNCH == getCurrentFlightPhase())
            {
                newFlightPhase(ARM);
            }
        }
        else if (launchSystemsRxChar == ABORT_CMD_BYTE)
        {
            abortCmdReceived = 1;
        }
        else if (launchSystemsRxChar == RESET_AVIONICS_CMD_BYTE)
        {
            resetAvionicsCmdReceived = 1;
        }
        else if (launchSystemsRxChar == HEARTBEAT_BYTE)
        {
            heartbeatTimer = HEARTBEAT_TIMEOUT;
        }
        else if (launchSystemsRxChar == OPEN_INJECTION_VALVE)
        {
            if (IS_ABORT_PHASE)
            {
                openInjectionValve();
            }
        }
        else if (launchSystemsRxChar == CLOSE_INJECTION_VALVE)
        {
            if (IS_ABORT_PHASE)
            {
                closeInjectionValve();
            }
        }
    }

}
/* USER CODE END 4 */

void StartDefaultTask(void const * argument)
{
  /* USER CODE BEGIN 5 */
    /* Infinite loop */
    HAL_GPIO_WritePin(MUX_POWER_TEMP_GPIO_Port, MUX_POWER_TEMP_Pin, GPIO_PIN_SET);
    HAL_GPIO_WritePin(LED2_GPIO_Port, LED2_Pin, 0);

    for (;;)
    {
        osDelay(FLIGHT_PHASE_DISPLAY_FREQ);

        // blink once for PRELAUNCH phase
        // blink twice for BURN phase
        // blink 3 times for COAST phase
        // blink 4 times for DROGUE_DESCENT phase
        // blink 5 times for MAIN_DESCENT phase
        for (int i = -1; i < getCurrentFlightPhase(); i++)
        {
            HAL_GPIO_WritePin(LED2_GPIO_Port, LED2_Pin, 1);
            osDelay(FLIGHT_PHASE_BLINK_FREQ);
            HAL_GPIO_WritePin(LED2_GPIO_Port, LED2_Pin, 0);
            osDelay(FLIGHT_PHASE_BLINK_FREQ);
        }
    }

  /* USER CODE END 5 */
}

void HAL_TIM_PeriodElapsedCallback(TIM_HandleTypeDef *htim)
{
  if (htim->Instance == TIM1) {
    HAL_IncTick();
  }
}

void Error_Handler(void)
{
    while (1)
    {
    }
}

/************************ (C) COPYRIGHT STMicroelectronics *****END OF FILE****/
